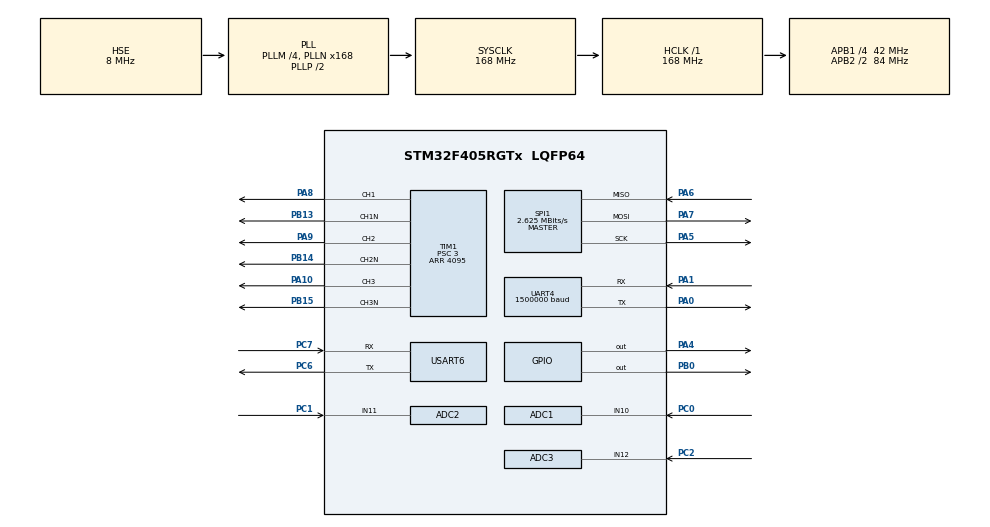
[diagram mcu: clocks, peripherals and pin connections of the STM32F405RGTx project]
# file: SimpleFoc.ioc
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ADC1.Channel-0\#ChannelRegularConversion=ADC_CHANNEL_10
ADC1.Channel-1\#ChannelInjectedConversion=ADC_CHANNEL_10
ADC1.EOCSelection=ADC_EOC_SEQ_CONV
ADC1.ExternalTrigConv=ADC_SOFTWARE_START
ADC1.ExternalTrigInjecConv=ADC_EXTERNALTRIGINJECCONV_T1_TRGO
ADC1.InjNumberOfConversion=1
ADC1.InjectedConvMode=None
ADC1.InjectedOffset-1\#ChannelInjectedConversion=0
ADC1.InjectedRank-1\#ChannelInjectedConversion=1
ADC1.Mode=ADC_TRIPLEMODE_INJECSIMULT
ADC1.NbrOfConversion=1
ADC1.NbrOfConversionFlag=1
ADC1.Rank-0\#ChannelRegularConversion=1
ADC1.SamplingTime-0\#ChannelRegularConversion=ADC_SAMPLETIME_15CYCLES
ADC1.SamplingTime-1\#ChannelInjectedConversion=ADC_SAMPLETIME_15CYCLES
ADC1.master=1
ADC2.Channel-0\#ChannelRegularConversion=ADC_CHANNEL_11
ADC2.Channel-1\#ChannelInjectedConversion=ADC_CHANNEL_11
ADC2.EOCSelection=ADC_EOC_SINGLE_CONV
ADC2.InjNumberOfConversion=1
ADC2.InjectedConvMode=AutoInjected
ADC2.InjectedOffset-1\#ChannelInjectedConversion=0
ADC2.InjectedRank-1\#ChannelInjectedConversion=1
ADC2.Mode=ADC_TRIPLEMODE_INJECSIMULT
ADC2.NbrOfConversion=1
ADC2.NbrOfConversionFlag=1
ADC2.Rank-0\#ChannelRegularConversion=1
ADC2.SamplingTime-0\#ChannelRegularConversion=ADC_SAMPLETIME_15CYCLES
ADC2.SamplingTime-1\#ChannelInjectedConversion=ADC_SAMPLETIME_15CYCLES
ADC3.Channel-0\#ChannelRegularConversion=ADC_CHANNEL_12
ADC3.Channel-1\#ChannelInjectedConversion=ADC_CHANNEL_12
ADC3.InjNumberOfConversion=1
ADC3.InjectedOffset-1\#ChannelInjectedConversion=0
ADC3.InjectedRank-1\#ChannelInjectedConversion=1
ADC3.Mode=ADC_TRIPLEMODE_INJECSIMULT
ADC3.NbrOfConversionFlag=1
ADC3.Rank-0\#ChannelRegularConversion=1
ADC3.SamplingTime-0\#ChannelRegularConversion=ADC_SAMPLETIME_15CYCLES
ADC3.SamplingTime-1\#ChannelInjectedConversion=ADC_SAMPLETIME_3CYCLES
FREERTOS.Tasks01=defaultTask,24,128,StartDefaultTask,Default,NULL,Dynamic,NULL,NULL
Mcu.Family=STM32F4
Mcu.Name=STM32F405RGTx
Mcu.Package=LQFP64
NVIC.ADC_IRQn=true\:5\:0\:false\:false\:true\:true\:true\:true
NVIC.PriorityGroup=NVIC_PRIORITYGROUP_4
NVIC.TIM6_DAC_IRQn=true\:0\:0\:true\:false\:true\:false\:true\:true
NVIC.UART4_IRQn=true\:5\:0\:false\:false\:true\:true\:true\:true
NVIC.USART6_IRQn=true\:5\:0\:false\:false\:true\:true\:true\:true
PA0-WKUP.Mode=Asynchronous
PA0-WKUP.Signal=UART4_TX
PA1.Mode=Asynchronous
PA1.Signal=UART4_RX
PA10.GPIO_PuPd=GPIO_PULLUP
PA10.GPIO_Speed=GPIO_SPEED_FREQ_VERY_HIGH
PA10.Signal=S_TIM1_CH3
PA13.Mode=Serial_Wire
PA13.Signal=SYS_JTMS-SWDIO
PA14.Mode=Serial_Wire
PA14.Signal=SYS_JTCK-SWCLK
PA4.GPIO_PuPd=GPIO_PULLDOWN
PA4.GPIO_Speed=GPIO_SPEED_FREQ_VERY_HIGH
PA4.PinState=GPIO_PIN_SET
PA4.Signal=GPIO_Output
PA5.Mode=Full_Duplex_Master
PA5.Signal=SPI1_SCK
PA6.Mode=Full_Duplex_Master
PA6.Signal=SPI1_MISO
PA7.Mode=Full_Duplex_Master
PA7.Signal=SPI1_MOSI
PA8.GPIO_PuPd=GPIO_PULLUP
PA8.GPIO_Speed=GPIO_SPEED_FREQ_VERY_HIGH
PA8.Signal=S_TIM1_CH1
PA9.GPIO_PuPd=GPIO_PULLUP
PA9.GPIO_Speed=GPIO_SPEED_FREQ_VERY_HIGH
PA9.Signal=S_TIM1_CH2
PB0.Signal=GPIO_Output
PB13.GPIO_PuPd=GPIO_PULLUP
PB13.GPIO_Speed=GPIO_SPEED_FREQ_VERY_HIGH
PB13.Mode=PWM Generation1 CH1 CH1N
PB13.Signal=TIM1_CH1N
PB14.GPIO_PuPd=GPIO_PULLUP
PB14.GPIO_Speed=GPIO_SPEED_FREQ_VERY_HIGH
PB14.Mode=PWM Generation2 CH2 CH2N
PB14.Signal=TIM1_CH2N
PB15.GPIO_PuPd=GPIO_PULLUP
PB15.GPIO_Speed=GPIO_SPEED_FREQ_VERY_HIGH
PB15.Mode=PWM Generation3 CH3 CH3N
PB15.Signal=TIM1_CH3N
PC0.Signal=ADCx_IN10
PC1.Signal=ADCx_IN11
PC2.Signal=ADCx_IN12
PC6.Mode=Asynchronous
PC6.Signal=USART6_TX
PC7.Mode=Asynchronous
PC7.Signal=USART6_RX
PH0-OSC_IN.Mode=HSE-External-Oscillator
PH0-OSC_IN.Signal=RCC_OSC_IN
PH1-OSC_OUT.Mode=HSE-External-Oscillator
PH1-OSC_OUT.Signal=RCC_OSC_OUT
ProjectManager.HeapSize=0x200
ProjectManager.StackSize=0x400
ProjectManager.TargetToolchain=STM32CubeIDE
RCC.48MHZClocksFreq_Value=84000000
RCC.AHBFreq_Value=168000000
RCC.APB1CLKDivider=RCC_HCLK_DIV4
RCC.APB1Freq_Value=42000000
RCC.APB1TimFreq_Value=84000000
RCC.APB2CLKDivider=RCC_HCLK_DIV2
RCC.APB2Freq_Value=84000000
RCC.APB2TimFreq_Value=168000000
RCC.CortexFreq_Value=168000000
RCC.HCLKFreq_Value=168000000
RCC.HSE_VALUE=8000000
RCC.HSI_VALUE=16000000
RCC.LSE_VALUE=32768
RCC.PLLM=4
RCC.PLLN=168
RCC.PLLSourceVirtual=RCC_PLLSOURCE_HSE
RCC.SYSCLKFreq_VALUE=168000000
RCC.SYSCLKSource=RCC_SYSCLKSOURCE_PLLCLK
RCC.VCOOutputFreq_Value=336000000
SH.ADCx_IN10.0=ADC1_IN10,IN10
SH.ADCx_IN11.0=ADC2_IN11,IN11
SH.ADCx_IN12.0=ADC3_IN12,IN12
SH.S_TIM1_CH1.0=TIM1_CH1,PWM Generation1 CH1 CH1N
SH.S_TIM1_CH2.0=TIM1_CH2,PWM Generation2 CH2 CH2N
SH.S_TIM1_CH3.0=TIM1_CH3,PWM Generation3 CH3 CH3N
SPI1.BaudRatePrescaler=SPI_BAUDRATEPRESCALER_32
SPI1.CLKPhase=SPI_PHASE_2EDGE
SPI1.CalculateBaudRate=2.625 MBits/s
SPI1.DataSize=SPI_DATASIZE_16BIT
SPI1.Direction=SPI_DIRECTION_2LINES
SPI1.Mode=SPI_MODE_MASTER
SPI1.VirtualType=VM_MASTER
TIM1.AutoReloadPreload=TIM_AUTORELOAD_PRELOAD_ENABLE
TIM1.Channel-PWM\ Generation1\ CH1\ CH1N=TIM_CHANNEL_1
TIM1.Channel-PWM\ Generation2\ CH2\ CH2N=TIM_CHANNEL_2
TIM1.Channel-PWM\ Generation3\ CH3\ CH3N=TIM_CHANNEL_3
TIM1.ClockDivision=TIM_CLOCKDIVISION_DIV1
TIM1.CounterMode=TIM_COUNTERMODE_CENTERALIGNED1
TIM1.DeadTime=50
TIM1.Period=4095
TIM1.Prescaler=3
TIM1.RepetitionCounter=0
TIM1.TIM_MasterOutputTrigger=TIM_TRGO_UPDATE
TIM6.AutoReloadPreload=TIM_AUTORELOAD_PRELOAD_DISABLE
TIM6.Period=999
TIM6.Prescaler=83
TIM6.TIM_MasterOutputTrigger=TIM_TRGO_RESET
UART4.BaudRate=1500000
UART4.VirtualMode=Asynchronous
USART6.VirtualMode=VM_ASYNC
VP_FREERTOS_VS_CMSIS_V2.Mode=CMSIS_V2
VP_TIM6_VS_ClockSourceINT.Mode=Enable_Timer
board=custom

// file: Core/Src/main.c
/* USER CODE BEGIN Header */
/**
  ******************************************************************************
  * @file           : main.c
  * @brief          : Main program body
  ******************************************************************************
  * @attention
  *
  * <h2><center>&copy; Copyright (c) 2021 STMicroelectronics.
  * All rights reserved.</center></h2>
  *
  * This software component is licensed by ST under BSD 3-Clause license,
  * the "License"; You may not use this file except in compliance with the
  * License. You may obtain a copy of the License at:
  *                        opensource.org/licenses/BSD-3-Clause
  *
  ******************************************************************************
  */
/* USER CODE END Header */
#include "main.h"
#include "cmsis_os.h"
#include "adc.h"
#include "spi.h"
#include "tim.h"
#include "usart.h"
#include "gpio.h"

void SystemClock_Config(void);
void MX_FREERTOS_Init(void);

/* USER CODE BEGIN 0 */
//int _write(int file, char *ptr, int len)
//{
//	for(int i=0; i<len; i++)
//		uart4SendByte(ptr[i]);
////	 if(HAL_UART_Transmit(&huart4, ptr, len, 0xffff) != HAL_OK)
////	 {
////		 Error_Handler();
////	 }
//}
/* USER CODE END 0 */

int main(void)
{

  /* MCU Configuration--------------------------------------------------------*/

  /* Reset of all peripherals, Initializes the Flash interface and the Systick. */
  HAL_Init();

  /* Configure the system clock */
  SystemClock_Config();

  /* Initialize all configured peripherals */
  MX_GPIO_Init();
  MX_TIM1_Init();
  MX_USART6_UART_Init();
  MX_UART4_Init();
  MX_ADC1_Init();
  MX_ADC2_Init();
  MX_ADC3_Init();
  MX_SPI1_Init();
  MX_TIM6_Init();
  /* USER CODE BEGIN 2 */
  HAL_TIMEx_PWMN_Start(&htim1, TIM_CHANNEL_1);
  HAL_TIM_PWM_Start(&htim1, TIM_CHANNEL_1);
  HAL_TIMEx_PWMN_Start(&htim1, TIM_CHANNEL_2);
  HAL_TIM_PWM_Start(&htim1, TIM_CHANNEL_2);
  HAL_TIMEx_PWMN_Start(&htim1, TIM_CHANNEL_3);
  HAL_TIM_PWM_Start(&htim1, TIM_CHANNEL_3);
  /* USER CODE END 2 */

  /* Init scheduler */
  osKernelInitialize();  /* Call init function for freertos objects (in freertos.c) */
  MX_FREERTOS_Init();
  /* Start scheduler */
  osKernelStart();

  /* We should never get here as control is now taken by the scheduler */
  /* Infinite loop */
  /* USER CODE BEGIN WHILE */
  HAL_Delay(1000);

  while (1)
  {
    /* USER CODE END WHILE */

  }
}

void SystemClock_Config(void)
{
  RCC_OscInitTypeDef RCC_OscInitStruct = {0};
  RCC_ClkInitTypeDef RCC_ClkInitStruct = {0};

  /** Configure the main internal regulator output voltage
  */
  __HAL_RCC_PWR_CLK_ENABLE();
  __HAL_PWR_VOLTAGESCALING_CONFIG(PWR_REGULATOR_VOLTAGE_SCALE1);
  /** Initializes the RCC Oscillators according to the specified parameters
  * in the RCC_OscInitTypeDef structure.
  */
  RCC_OscInitStruct.OscillatorType = RCC_OSCILLATORTYPE_HSE;
  RCC_OscInitStruct.HSEState = RCC_HSE_ON;
  RCC_OscInitStruct.PLL.PLLState = RCC_PLL_ON;
  RCC_OscInitStruct.PLL.PLLSource = RCC_PLLSOURCE_HSE;
  RCC_OscInitStruct.PLL.PLLM = 4;
  RCC_OscInitStruct.PLL.PLLN = 168;
  RCC_OscInitStruct.PLL.PLLP = RCC_PLLP_DIV2;
  RCC_OscInitStruct.PLL.PLLQ = 4;
  if (HAL_RCC_OscConfig(&RCC_OscInitStruct) != HAL_OK)
  {
    Error_Handler();
  }
  /** Initializes the CPU, AHB and APB buses clocks
  */
  RCC_ClkInitStruct.ClockType = RCC_CLOCKTYPE_HCLK|RCC_CLOCKTYPE_SYSCLK
                              |RCC_CLOCKTYPE_PCLK1|RCC_CLOCKTYPE_PCLK2;
  RCC_ClkInitStruct.SYSCLKSource = RCC_SYSCLKSOURCE_PLLCLK;
  RCC_ClkInitStruct.AHBCLKDivider = RCC_SYSCLK_DIV1;
  RCC_ClkInitStruct.APB1CLKDivider = RCC_HCLK_DIV4;
  RCC_ClkInitStruct.APB2CLKDivider = RCC_HCLK_DIV2;

  if (HAL_RCC_ClockConfig(&RCC_ClkInitStruct, FLASH_LATENCY_5) != HAL_OK)
  {
    Error_Handler();
  }
}

void Error_Handler(void)
{
  __disable_irq();
  while (1)
  {
  }
}

/************************ (C) COPYRIGHT STMicroelectronics *****END OF FILE****/

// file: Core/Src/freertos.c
/* USER CODE BEGIN Header */
/**
  ******************************************************************************
  * File Name          : freertos.c
  * Description        : Code for freertos applications
  ******************************************************************************
  * @attention
  *
  * <h2><center>&copy; Copyright (c) 2021 STMicroelectronics.
  * All rights reserved.</center></h2>
  *
  * This software component is licensed by ST under Ultimate Liberty license
  * SLA0044, the "License"; You may not use this file except in compliance with
  * the License. You may obtain a copy of the License at:
  *                             www.st.com/SLA0044
  *
  ******************************************************************************
  */
/* USER CODE END Header */

#include "FreeRTOS.h"
#include "task.h"
#include "main.h"
#include "cmsis_os.h"

/* USER CODE BEGIN Includes */
#include "tim.h"
/* USER CODE END Includes */

/* USER CODE BEGIN PTD */
extern UART_HandleTypeDef huart6;
extern UART_HandleTypeDef huart4;

extern ADC_HandleTypeDef hadc1;
extern ADC_HandleTypeDef hadc2;
extern ADC_HandleTypeDef hadc3;
/* USER CODE END PTD */

/* Definitions for defaultTask */
osThreadId_t defaultTaskHandle;
const osThreadAttr_t defaultTask_attributes = {
  .name = "defaultTask",
  .stack_size = 128 * 4,
  .priority = (osPriority_t) osPriorityNormal,
};

void StartDefaultTask(void *argument);

void MX_FREERTOS_Init(void); /* (MISRA C 2004 rule 8.1) */

void MX_FREERTOS_Init(void) {

  /* Create the thread(s) */
  /* creation of defaultTask */
  defaultTaskHandle = osThreadNew(StartDefaultTask, NULL, &defaultTask_attributes);

}

void StartDefaultTask(void *argument)
{
  /* USER CODE BEGIN StartDefaultTask */
  /* Infinite loop */
	HAL_ADC_Start(&hadc3);
	HAL_ADC_Start(&hadc2);
	HAL_ADC_Start(&hadc1);
	setupSimpleFOC();
	osDelay(1000);
	HAL_ADCEx_InjectedStart_IT(&hadc1);
	for(;;)
	{
		osDelay(100);

	}
  /* USER CODE END StartDefaultTask */
}

/************************ (C) COPYRIGHT STMicroelectronics *****END OF FILE****/
